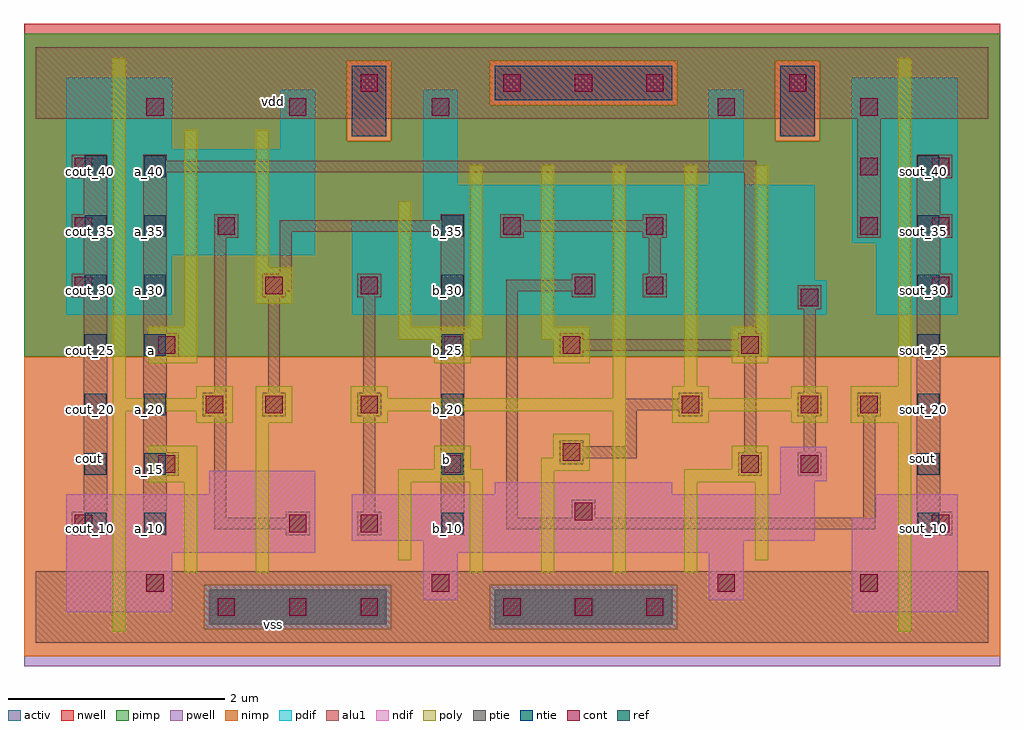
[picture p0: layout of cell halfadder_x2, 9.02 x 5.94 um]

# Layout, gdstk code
import gdstk
lib = gdstk.Library(unit=1e-6, precision=2.5e-09)
def R(c, l, rs):  # rectangles x0, y0, x1, y1
    for r in rs: c.add(gdstk.rectangle(r[:2], r[2:], *l))
def A(c, l, x, y, w, h, nx, ny, dx, dy):  # array of equal rectangles
    R(c, l, [(x+i*dx, y+j*dy, x+i*dx+w, y+j*dy+h) for i in range(nx) for j in range(ny)])
ndif = (3, 0)
pdif = (4, 0)
ntie = (5, 0)
ptie = (6, 0)
ref = (24, 0)
cont = (25, 0)
pwell = (41, 0)
nwell = (42, 0)
activ = (43, 0)
pimp = (44, 0)
nimp = (45, 0)
poly = (46, 0)
alu1 = (49, 0)

halfadder_x2 = lib.new_cell('halfadder_x2')
R(halfadder_x2, ndif, [(0.28,0.28,1.26,0.83), (0.28,0.28,1.26,0.83), (7.54,0.28,8.52,1.15), (7.54,0.28,8.52,1.15), (3.58,0.39,3.9,0.83), (3.58,0.39,3.9,0.83), (6.22,0.39,6.54,0.83), (6.22,0.39,6.54,0.83), (0.28,0.83,2.58,1.37), (0.28,0.83,2.58,1.37), (3.58,0.83,6.54,0.94), (3.58,0.83,6.54,0.94), (2.92,0.94,7.2,1.37), (2.92,0.94,7.2,1.37), (7.76,1.15,8.52,1.37), (7.76,1.15,8.52,1.37), (1.6,1.37,2.58,1.59), (1.6,1.37,2.58,1.59), (4.24,1.37,5.88,1.48), (4.24,1.37,5.88,1.48), (6.88,1.37,7.2,1.49), (6.88,1.37,7.2,1.49), (6.88,1.49,7.31,1.81), (6.88,1.49,7.31,1.81)])
R(halfadder_x2, pdif, [(0.28,3.03,1.26,3.58), (0.28,3.03,1.26,3.58), (2.92,3.03,7.31,3.35), (2.92,3.03,7.31,3.35), (7.76,3.03,8.52,3.69), (7.76,3.03,8.52,3.69), (2.92,3.35,7.2,3.9), (2.92,3.35,7.2,3.9), (0.28,3.58,2.58,4.56), (0.28,3.58,2.58,4.56), (7.54,3.69,8.52,5.22), (7.54,3.69,8.52,5.22), (3.58,3.9,7.2,4.23), (3.58,3.9,7.2,4.23), (3.58,4.23,3.9,5.11), (3.58,4.23,3.9,5.11), (6.22,4.23,6.54,5.11), (6.22,4.23,6.54,5.11), (0.28,4.56,1.26,5.22), (0.28,4.56,1.26,5.22), (2.26,4.56,2.58,5.11), (2.26,4.56,2.58,5.11)])
R(halfadder_x2, ntie, [(2.92,4.68,3.24,5.33), (2.92,4.68,3.24,5.33), (6.88,4.68,7.2,5.33), (6.88,4.68,7.2,5.33), (4.24,5.01,5.88,5.33), (4.24,5.01,5.88,5.33)])
R(halfadder_x2, ptie, [(1.6,0.17,3.24,0.49), (1.6,0.17,3.24,0.49), (4.24,0.17,5.88,0.49), (4.24,0.17,5.88,0.49)])
A(halfadder_x2, ref, 0.45, 1, 0.2, 0.2, 1, 7, 0, 0.55)
A(halfadder_x2, ref, 1, 1, 0.2, 0.2, 1, 7, 0, 0.55)
A(halfadder_x2, ref, 3.75, 1, 0.2, 0.2, 1, 6, 0, 0.55)
A(halfadder_x2, ref, 8.15, 1, 0.2, 0.2, 1, 7, 0, 0.55)
A(halfadder_x2, cont, 1.68, 0.25, 0.16, 0.16, 3, 1, 0.66, 0)
A(halfadder_x2, cont, 4.32, 0.25, 0.16, 0.16, 3, 2, 0.66, 4.84)
A(halfadder_x2, cont, 1.02, 0.47, 0.16, 0.16, 3, 1, 2.64, 0)
A(halfadder_x2, cont, 7.62, 0.47, 0.16, 0.16, 1, 3, 0, 1.65)
A(halfadder_x2, cont, 3, 1.02, 0.16, 0.16, 1, 3, 0, 1.1)
A(halfadder_x2, cont, 0.36, 3.22, 0.16, 0.16, 1, 3, 0, 0.55)
A(halfadder_x2, cont, 8.28, 3.22, 0.16, 0.16, 1, 3, 0, 0.55)
A(halfadder_x2, cont, 1.02, 4.87, 0.16, 0.16, 3, 1, 1.32, 0)
R(halfadder_x2, cont, [(0.36,1.02,0.52,1.18), (2.34,1.02,2.5,1.18), (8.28,1.02,8.44,1.18), (4.98,1.13,5.14,1.29), (1.13,1.57,1.29,1.73), (3.77,1.57,3.93,1.73), (6.52,1.57,6.68,1.73), (7.07,1.57,7.23,1.73), (4.87,1.68,5.03,1.84), (1.57,2.12,1.73,2.28), (2.12,2.12,2.28,2.28), (5.97,2.12,6.13,2.28), (7.07,2.12,7.23,2.28), (1.13,2.67,1.29,2.83), (3.77,2.67,3.93,2.83), (4.87,2.67,5.03,2.83), (6.52,2.67,6.68,2.83), (7.07,3.11,7.23,3.27), (2.12,3.22,2.28,3.38), (4.98,3.22,5.14,3.38), (5.64,3.22,5.8,3.38), (1.68,3.77,1.84,3.93), (4.32,3.77,4.48,3.93), (5.64,3.77,5.8,3.93), (7.62,4.32,7.78,4.48), (6.3,4.87,6.46,5.03), (7.62,4.87,7.78,5.03), (3,5.09,3.16,5.25), (6.96,5.09,7.12,5.25)])
R(halfadder_x2, pwell, [(-0.11,-0.22,8.91,2.64)])
R(halfadder_x2, nwell, [(-0.11,2.64,8.91,5.72)])
R(halfadder_x2, activ, [(1.6,0.17,3.24,0.49), (1.6,0.17,3.24,0.49), (4.24,0.17,5.88,0.49), (4.24,0.17,5.88,0.49), (0.28,0.28,1.26,0.83), (0.28,0.28,1.26,0.83), (7.54,0.28,8.52,1.15), (7.54,0.28,8.52,1.15), (3.58,0.39,3.9,0.83), (3.58,0.39,3.9,0.83), (6.22,0.39,6.54,0.83), (6.22,0.39,6.54,0.83), (0.28,0.83,2.58,1.37), (0.28,0.83,2.58,1.37), (3.58,0.83,6.54,0.94), (3.58,0.83,6.54,0.94), (2.92,0.94,7.2,1.37), (2.92,0.94,7.2,1.37), (7.76,1.15,8.52,1.37), (7.76,1.15,8.52,1.37), (1.6,1.37,2.58,1.59), (1.6,1.37,2.58,1.59), (4.24,1.37,5.88,1.48), (4.24,1.37,5.88,1.48), (6.88,1.37,7.2,1.49), (6.88,1.37,7.2,1.49), (6.88,1.49,7.31,1.81), (6.88,1.49,7.31,1.81), (0.28,3.03,1.26,3.58), (0.28,3.03,1.26,3.58), (2.92,3.03,7.31,3.35), (2.92,3.03,7.31,3.35), (7.76,3.03,8.52,3.69), (7.76,3.03,8.52,3.69), (2.92,3.35,7.2,3.9), (2.92,3.35,7.2,3.9), (0.28,3.58,2.58,4.56), (0.28,3.58,2.58,4.56), (7.54,3.69,8.52,5.22), (7.54,3.69,8.52,5.22), (3.58,3.9,7.2,4.23), (3.58,3.9,7.2,4.23), (3.58,4.23,3.9,5.11), (3.58,4.23,3.9,5.11), (6.22,4.23,6.54,5.11), (6.22,4.23,6.54,5.11), (0.28,4.56,1.26,5.22), (0.28,4.56,1.26,5.22), (2.26,4.56,2.58,5.11), (2.26,4.56,2.58,5.11), (2.92,4.68,3.24,5.33), (2.92,4.68,3.24,5.33), (6.88,4.68,7.2,5.33), (6.88,4.68,7.2,5.33), (4.24,5.01,5.88,5.33), (4.24,5.01,5.88,5.33)])
R(halfadder_x2, pimp, [(1.555,0.125,3.285,0.535), (4.195,0.125,5.925,0.535), (-0.11,2.64,8.91,4.635), (-0.11,4.635,2.875,5.375), (3.285,4.635,6.835,4.965), (7.245,4.635,8.91,5.375), (3.285,4.965,4.195,5.375), (5.925,4.965,6.835,5.375), (-0.11,5.375,8.91,5.625)])
R(halfadder_x2, nimp, [(-0.11,-0.125,8.91,0.125), (-0.11,0.125,1.555,0.535), (3.285,0.125,4.195,0.535), (5.925,0.125,8.91,0.535), (-0.11,0.535,8.91,2.64), (2.875,4.635,3.285,5.375), (6.835,4.635,7.245,5.375), (4.195,4.965,5.925,5.375)])
R(halfadder_x2, poly, [(0.71,0.1,0.83,2.14), (7.97,0.1,8.09,2.03), (1.37,0.65,1.49,1.48), (2.03,0.65,2.15,2.03), (4.01,0.65,4.13,1.48), (4.67,0.65,4.79,1.59), (5.33,0.65,5.45,2.14), (5.99,0.65,6.11,1.48), (3.35,0.76,3.47,1.48), (6.65,0.76,6.77,1.48), (1.04,1.48,1.49,1.82), (3.35,1.48,4.13,1.6), (5.99,1.48,6.77,1.6), (4.67,1.59,5.12,1.71), (3.68,1.6,4.02,1.82), (6.43,1.6,6.77,1.82), (4.78,1.71,5.12,1.93), (1.48,2.03,1.82,2.14), (2.03,2.03,2.37,2.37), (2.91,2.03,3.25,2.14), (5.88,2.03,6.22,2.14), (6.98,2.03,7.32,2.14), (7.53,2.03,8.09,2.37), (0.71,2.14,1.82,2.26), (2.91,2.14,5.45,2.26), (5.88,2.14,7.32,2.26), (0.71,2.26,0.83,5.4), (1.48,2.26,1.82,2.37), (2.91,2.26,3.25,2.37), (5.33,2.26,5.45,4.41), (5.88,2.26,6.22,2.37), (6.98,2.26,7.32,2.37), (5.99,2.37,6.11,4.41), (7.97,2.37,8.09,5.4), (1.04,2.58,1.49,2.92), (3.68,2.58,4.02,2.8), (4.78,2.58,5.12,2.8), (6.43,2.58,6.77,2.92), (3.35,2.8,4.13,2.92), (4.67,2.8,5.12,2.92), (1.37,2.92,1.49,4.74), (3.35,2.92,3.47,4.08), (4.01,2.92,4.13,4.41), (4.67,2.92,4.79,4.41), (6.65,2.92,6.77,4.41), (2.03,3.13,2.37,3.47), (2.03,3.47,2.15,4.74)])
A(halfadder_x2, alu1, 2.97, 0.99, 0.22, 0.22, 1, 3, 0, 1.1)
A(halfadder_x2, alu1, 0.33, 3.19, 0.33, 0.22, 1, 3, 0, 0.55)
A(halfadder_x2, alu1, 8.14, 3.19, 0.33, 0.22, 1, 3, 0, 0.55)
R(halfadder_x2, alu1, [(0,0,8.8,0.66), (0.33,0.99,0.66,1.21), (0.99,0.99,1.21,1.54), (2.31,0.99,2.53,1.045), (3.74,0.99,3.96,3.795), (8.14,0.99,8.47,1.21), (1.65,1.045,2.53,1.155), (4.345,1.045,7.755,1.155), (1.65,1.155,1.76,2.09), (2.31,1.155,2.53,1.21), (4.345,1.155,4.455,3.245), (4.95,1.155,5.17,1.32), (7.645,1.155,7.755,2.09), (0.44,1.21,0.66,3.19), (3.025,1.21,3.135,2.09), (8.14,1.21,8.36,3.19), (0.99,1.54,1.32,1.76), (6.49,1.54,6.71,1.76), (7.04,1.54,7.26,1.76), (4.84,1.65,5.06,1.705), (4.84,1.705,5.555,1.815), (0.99,1.76,1.21,2.64), (6.545,1.76,6.655,2.64), (7.095,1.76,7.205,2.09), (4.84,1.815,5.06,1.87), (5.445,1.815,5.555,2.145), (1.54,2.09,1.76,2.31), (2.09,2.09,2.31,2.31), (5.94,2.09,6.16,2.145), (7.04,2.09,7.26,2.31), (7.59,2.09,7.81,2.31), (5.445,2.145,6.16,2.255), (5.94,2.255,6.16,2.31), (1.65,2.31,1.76,3.74), (2.145,2.31,2.255,3.19), (3.025,2.31,3.135,3.19), (7.095,2.31,7.205,3.08), (0.99,2.64,1.32,2.86), (4.84,2.64,5.06,2.695), (6.49,2.64,6.71,2.695), (4.84,2.695,6.71,2.805), (4.84,2.805,5.06,2.86), (6.49,2.805,6.71,2.86), (0.99,2.86,1.21,4.345), (6.545,2.86,6.655,4.345), (7.04,3.08,7.26,3.3), (2.09,3.19,2.31,3.245), (4.95,3.19,5.17,3.245), (5.61,3.19,5.83,3.41), (2.09,3.245,2.365,3.41), (4.345,3.245,5.17,3.355), (4.95,3.355,5.17,3.41), (0.44,3.41,0.66,3.74), (2.255,3.41,2.365,3.795), (5.665,3.41,5.775,3.74), (8.14,3.41,8.36,3.74), (1.65,3.74,1.87,3.96), (4.29,3.74,4.51,3.795), (5.61,3.74,5.83,3.795), (7.59,3.74,7.81,4.84), (2.255,3.795,3.96,3.905), (4.29,3.795,5.83,3.905), (3.74,3.905,3.96,3.96), (4.29,3.905,4.51,3.96), (5.61,3.905,5.83,3.96), (0.44,3.96,0.66,4.29), (8.14,3.96,8.36,4.29), (0.99,4.345,6.655,4.455), (0.99,4.455,1.21,4.51), (0,4.84,8.8,5.5)])
halfadder_x2.add(gdstk.Label('vss', (2.2,0.165), layer=49, texttype=0))
halfadder_x2.add(gdstk.Label('sout', (8.195,1.705), layer=49, texttype=0))
halfadder_x2.add(gdstk.Label('b', (3.795,1.69), layer=49, texttype=0))
halfadder_x2.add(gdstk.Label('a', (1.0725,2.695), layer=49, texttype=0))
halfadder_x2.add(gdstk.Label('cout', (0.495,1.705), layer=49, texttype=0))
halfadder_x2.add(gdstk.Label('vdd', (2.2,5.005), layer=49, texttype=0))
halfadder_x2.add(gdstk.Label('sout_25', (8.2,2.7), layer=24, texttype=0))
halfadder_x2.add(gdstk.Label('sout_20', (8.2,2.15), layer=24, texttype=0))
halfadder_x2.add(gdstk.Label('sout_15', (8.2,1.6), layer=24, texttype=0))
halfadder_x2.add(gdstk.Label('b_15', (3.8,1.6), layer=24, texttype=0))
halfadder_x2.add(gdstk.Label('b_20', (3.8,2.15), layer=24, texttype=0))
halfadder_x2.add(gdstk.Label('b_25', (3.8,2.7), layer=24, texttype=0))
halfadder_x2.add(gdstk.Label('b_30', (3.8,3.25), layer=24, texttype=0))
halfadder_x2.add(gdstk.Label('sout_40', (8.2,4.35), layer=24, texttype=0))
halfadder_x2.add(gdstk.Label('sout_10', (8.2,1.05), layer=24, texttype=0))
halfadder_x2.add(gdstk.Label('sout_30', (8.2,3.25), layer=24, texttype=0))
halfadder_x2.add(gdstk.Label('sout_35', (8.2,3.8), layer=24, texttype=0))
halfadder_x2.add(gdstk.Label('a_35', (1.05,3.8), layer=24, texttype=0))
halfadder_x2.add(gdstk.Label('a_40', (1.05,4.35), layer=24, texttype=0))
halfadder_x2.add(gdstk.Label('a_10', (1.05,1.05), layer=24, texttype=0))
halfadder_x2.add(gdstk.Label('a_15', (1.05,1.6), layer=24, texttype=0))
halfadder_x2.add(gdstk.Label('a_25', (1.05,2.7), layer=24, texttype=0))
halfadder_x2.add(gdstk.Label('a_20', (1.05,2.15), layer=24, texttype=0))
halfadder_x2.add(gdstk.Label('b_35', (3.8,3.8), layer=24, texttype=0))
halfadder_x2.add(gdstk.Label('b_10', (3.8,1.05), layer=24, texttype=0))
halfadder_x2.add(gdstk.Label('cout_40', (0.5,4.35), layer=24, texttype=0))
halfadder_x2.add(gdstk.Label('cout_10', (0.5,1.05), layer=24, texttype=0))
halfadder_x2.add(gdstk.Label('cout_30', (0.5,3.25), layer=24, texttype=0))
halfadder_x2.add(gdstk.Label('cout_35', (0.5,3.8), layer=24, texttype=0))
halfadder_x2.add(gdstk.Label('cout_25', (0.5,2.7), layer=24, texttype=0))
halfadder_x2.add(gdstk.Label('cout_20', (0.5,2.15), layer=24, texttype=0))
halfadder_x2.add(gdstk.Label('cout_15', (0.5,1.6), layer=24, texttype=0))
halfadder_x2.add(gdstk.Label('a_30', (1.05,3.25), layer=24, texttype=0))

lib.write_gds('halfadder_x2.gds')
